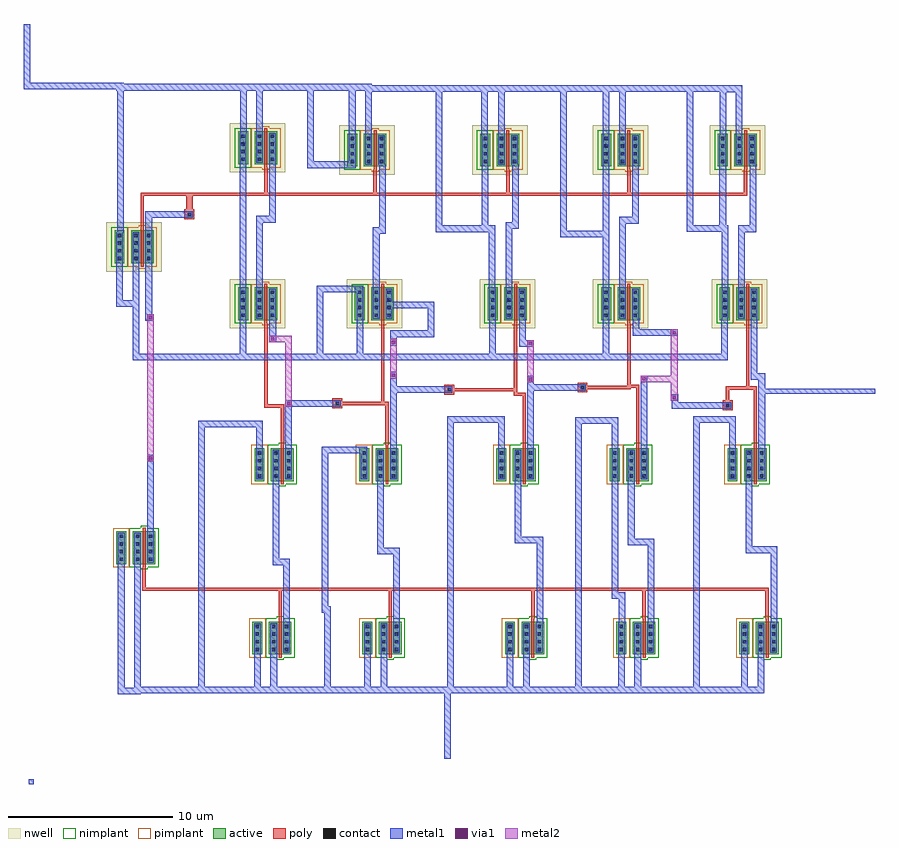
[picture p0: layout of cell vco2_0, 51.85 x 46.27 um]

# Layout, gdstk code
import gdstk
lib = gdstk.Library(unit=1e-6, precision=5e-10)
def R(c, l, rs):  # rectangles x0, y0, x1, y1
    for r in rs: c.add(gdstk.rectangle(r[:2], r[2:], *l))
def A(c, l, x, y, w, h, nx, ny, dx, dy):  # array of equal rectangles
    R(c, l, [(x+i*dx, y+j*dy, x+i*dx+w, y+j*dy+h) for i in range(nx) for j in range(ny)])
active = (1, 0)
nwell = (2, 0)
poly = (3, 0)
nimplant = (4, 0)
pimplant = (5, 0)
contact = (6, 0)
metal1 = (7, 0)
via1 = (8, 0)
metal2 = (9, 0)

nmos_cdns_761219480110 = lib.new_cell('nmos_CDNS_761219480110')
R(nmos_cdns_761219480110, active, [(-1.6,0,-1,2), (-0.6,0,0,2), (0,0,0.18,2), (0.18,0,0.78,2)])
R(nmos_cdns_761219480110, poly, [(0,-0.205,0.18,-0.2), (0,-0.2,0.18,0), (0,0,0.18,2), (0,2,0.18,2.2), (0,2.2,0.18,2.205)])
R(nmos_cdns_761219480110, nimplant, [(-0.12,-0.325,0.3,-0.2), (-0.8,-0.2,0.98,2.2), (-0.12,2.2,0.3,2.325)])
R(nmos_cdns_761219480110, pimplant, [(-1.8,-0.2,-0.8,2.2)])
A(nmos_cdns_761219480110, contact, -1.4, 0.67, 0.2, 0.2, 1, 3, 0, 0.465)
A(nmos_cdns_761219480110, contact, -0.4, 0.67, 0.2, 0.2, 1, 3, 0, 0.465)
A(nmos_cdns_761219480110, contact, 0.38, 0.67, 0.2, 0.2, 1, 3, 0, 0.465)
R(nmos_cdns_761219480110, contact, [(-1.4,0.2,-1.2,0.4), (-0.4,0.2,-0.2,0.4), (0.38,0.2,0.58,0.4)])
R(nmos_cdns_761219480110, metal1, [(-1.5,0.1,-1.1,1.9), (-0.5,0.1,-0.1,1.9), (0.28,0.1,0.68,1.9)])

pmos_cdns_761219480111 = lib.new_cell('pmos_CDNS_761219480111')
R(pmos_cdns_761219480111, active, [(-1.6,0,-1,2), (-0.6,0,0,2), (0,0,0.18,2), (0.18,0,0.78,2)])
R(pmos_cdns_761219480111, nwell, [(-2.1,-0.5,1.28,2.5)])
R(pmos_cdns_761219480111, poly, [(0,-0.205,0.18,-0.2), (0,-0.2,0.18,0), (0,0,0.18,2), (0,2,0.18,2.2), (0,2.2,0.18,2.205)])
R(pmos_cdns_761219480111, nimplant, [(-1.8,-0.2,-0.8,2.2)])
R(pmos_cdns_761219480111, pimplant, [(-0.12,-0.325,0.3,-0.2), (-0.8,-0.2,0.98,2.2), (-0.12,2.2,0.3,2.325)])
A(pmos_cdns_761219480111, contact, -1.4, 0.67, 0.2, 0.2, 1, 3, 0, 0.465)
A(pmos_cdns_761219480111, contact, -0.4, 0.67, 0.2, 0.2, 1, 3, 0, 0.465)
A(pmos_cdns_761219480111, contact, 0.38, 0.67, 0.2, 0.2, 1, 3, 0, 0.465)
R(pmos_cdns_761219480111, contact, [(-1.4,0.2,-1.2,0.4), (-0.4,0.2,-0.2,0.4), (0.38,0.2,0.58,0.4)])
R(pmos_cdns_761219480111, metal1, [(-1.5,0.1,-1.1,1.9), (-0.5,0.1,-0.1,1.9), (0.28,0.1,0.68,1.9)])

m2_m1_cdns_761219480110 = lib.new_cell('M2_M1_CDNS_761219480110')
R(m2_m1_cdns_761219480110, metal1, [(-0.2,-0.2,0.2,0.2)])
R(m2_m1_cdns_761219480110, via1, [(-0.1,-0.1,0.1,0.1)])
R(m2_m1_cdns_761219480110, metal2, [(-0.2,-0.2,0.2,0.2)])

m1_poly1_cdns_7612194801 = lib.new_cell('M1_POLY1_CDNS_761219480111')
R(m1_poly1_cdns_7612194801, poly, [(-0.3,-0.3,0.3,0.3)])
R(m1_poly1_cdns_7612194801, contact, [(-0.1,-0.1,0.1,0.1)])
R(m1_poly1_cdns_7612194801, metal1, [(-0.2,-0.2,0.2,0.2)])

vco2_0 = lib.new_cell('vco2_0')
R(vco2_0, metal1, [(0.3,-1.55,0.6,-1.25), (25.6,0,26,0.4), (51.45,22.21,51.85,22.51), (0,44.32,0.4,44.72)])
vco2_0.add(gdstk.FlexPath([(44.08,22.57),(44.08,26.485)], 0.2, ends=(0.1, 0), simple_path=True, layer=3, datatype=0))  # poly
vco2_0.add(gdstk.FlexPath([(44.08,22.565),(44.08,22.57)], 0.18, ends=(0.1, 0), simple_path=True, layer=3, datatype=0))  # poly
vco2_0.add(gdstk.FlexPath([(7.33,10.305),(15.615,10.305)], 0.2, ends="extended", simple_path=True, layer=3, datatype=0))  # poly
vco2_0.add(gdstk.FlexPath([(15.615,8.545),(15.615,10.305)], 0.2, ends=(0, 0.1), simple_path=True, layer=3, datatype=0))  # poly
vco2_0.add(gdstk.FlexPath([(15.615,10.305),(22.315,10.305)], 0.2, ends="extended", simple_path=True, layer=3, datatype=0))  # poly
vco2_0.add(gdstk.FlexPath([(22.315,8.545),(22.315,10.305)], 0.2, ends=(0, 0.1), simple_path=True, layer=3, datatype=0))  # poly
vco2_0.add(gdstk.FlexPath([(22.315,10.305),(31,10.305)], 0.2, ends="extended", simple_path=True, layer=3, datatype=0))  # poly
vco2_0.add(gdstk.FlexPath([(31,8.545),(31,10.305)], 0.2, ends=(0, 0.1), simple_path=True, layer=3, datatype=0))  # poly
vco2_0.add(gdstk.FlexPath([(31,10.305),(37.775,10.305)], 0.2, ends="extended", simple_path=True, layer=3, datatype=0))  # poly
vco2_0.add(gdstk.FlexPath([(37.775,8.545),(37.775,10.305)], 0.2, ends=(0, 0.1), simple_path=True, layer=3, datatype=0))  # poly
vco2_0.add(gdstk.FlexPath([(45.26,10.305),(45.26,8.545)], 0.2, ends=(0.1, 0), simple_path=True, layer=3, datatype=0))  # poly
vco2_0.add(gdstk.FlexPath([(37.775,10.305),(45.26,10.305)], 0.2, ends="extended", simple_path=True, layer=3, datatype=0))  # poly
vco2_0.add(gdstk.FlexPath([(7.33,11.63),(7.33,10.305)], 0.2, ends=(0, 0.1), simple_path=True, layer=3, datatype=0))  # poly
vco2_0.add(gdstk.FlexPath([(44.545,19.1),(44.545,22.565)], 0.2, ends=(0, 0.1), simple_path=True, layer=3, datatype=0))  # poly
vco2_0.add(gdstk.FlexPath([(36.85,22.59),(36.85,22.66)], 0.2, ends="extended", simple_path=True, layer=3, datatype=0))  # poly
vco2_0.add(gdstk.FlexPath([(34.025,22.59),(36.85,22.59)], 0.2, ends=(0, 0.1), simple_path=True, layer=3, datatype=0))  # poly
vco2_0.add(gdstk.FlexPath([(29.945,26.485),(29.945,22.455)], 0.2, ends=(0, 0.1), simple_path=True, layer=3, datatype=0))  # poly
vco2_0.add(gdstk.FlexPath([(25.905,22.455),(29.945,22.455)], 0.2, ends=(0, 0.1), simple_path=True, layer=3, datatype=0))  # poly
vco2_0.add(gdstk.FlexPath([(21.855,26.485),(21.855,21.62)], 0.2, ends=(0, 0.1), simple_path=True, layer=3, datatype=0))  # poly
vco2_0.add(gdstk.FlexPath([(22.12,21.62),(21.855,21.62)], 0.2, ends="extended", simple_path=True, layer=3, datatype=0))  # poly
vco2_0.add(gdstk.FlexPath([(44.545,22.565),(44.08,22.565)], 0.2, ends=(0.1, 0.09), simple_path=True, layer=3, datatype=0))  # poly
vco2_0.add(gdstk.FlexPath([(44.08,22.565),(42.85,22.565)], 0.2, ends=(0.09, 0.1), simple_path=True, layer=3, datatype=0))  # poly
vco2_0.add(gdstk.FlexPath([(37.39,22.66),(37.39,19.1)], 0.2, ends=(0.1, 0), simple_path=True, layer=3, datatype=0))  # poly
vco2_0.add(gdstk.FlexPath([(36.85,22.66),(37.39,22.66)], 0.2, ends="extended", simple_path=True, layer=3, datatype=0))  # poly
vco2_0.add(gdstk.FlexPath([(36.85,26.485),(36.85,22.66)], 0.2, ends=(0, 0.1), simple_path=True, layer=3, datatype=0))  # poly
vco2_0.add(gdstk.FlexPath([(30.48,22.18),(30.48,19.1)], 0.2, ends=(0.1, 0), simple_path=True, layer=3, datatype=0))  # poly
vco2_0.add(gdstk.FlexPath([(29.945,22.18),(30.48,22.18)], 0.2, ends="extended", simple_path=True, layer=3, datatype=0))  # poly
vco2_0.add(gdstk.FlexPath([(29.945,22.455),(29.945,22.18)], 0.2, ends="extended", simple_path=True, layer=3, datatype=0))  # poly
vco2_0.add(gdstk.FlexPath([(42.85,22.565),(42.85,21.5)], 0.2, ends="extended", simple_path=True, layer=3, datatype=0))  # poly
vco2_0.add(gdstk.FlexPath([(19.09,21.62),(21.855,21.62)], 0.2, ends=(0, 0.1), simple_path=True, layer=3, datatype=0))  # poly
vco2_0.add(gdstk.FlexPath([(22.12,19.1),(22.12,21.62)], 0.2, ends=(0, 0.1), simple_path=True, layer=3, datatype=0))  # poly
vco2_0.add(gdstk.FlexPath([(15.75,21.47),(15.75,19.1)], 0.2, ends=(0.1, 0), simple_path=True, layer=3, datatype=0))  # poly
vco2_0.add(gdstk.FlexPath([(14.75,26.485),(14.75,21.47)], 0.2, ends=(0, 0.1), simple_path=True, layer=3, datatype=0))  # poly
vco2_0.add(gdstk.FlexPath([(14.75,21.47),(15.75,21.47)], 0.2, ends="extended", simple_path=True, layer=3, datatype=0))  # poly
vco2_0.add(gdstk.FlexPath([(7.225,34.35),(10.09,34.35)], 0.2, ends=(0.1, 0.2), simple_path=True, layer=3, datatype=0))  # poly
vco2_0.add(gdstk.FlexPath([(10.09,33.13),(10.09,34.35)], 0.4, ends=(0, 0.1), simple_path=True, layer=3, datatype=0))  # poly
vco2_0.add(gdstk.FlexPath([(10.09,34.35),(14.75,34.35)], 0.2, ends=(0.2, 0.1), simple_path=True, layer=3, datatype=0))  # poly
vco2_0.add(gdstk.FlexPath([(14.75,35.975),(14.75,34.35)], 0.2, ends=(0, 0.1), simple_path=True, layer=3, datatype=0))  # poly
vco2_0.add(gdstk.FlexPath([(14.75,34.35),(21.395,34.35)], 0.2, ends="extended", simple_path=True, layer=3, datatype=0))  # poly
vco2_0.add(gdstk.FlexPath([(21.395,35.845),(21.395,34.35)], 0.2, ends=(0, 0.1), simple_path=True, layer=3, datatype=0))  # poly
vco2_0.add(gdstk.FlexPath([(21.395,34.35),(29.485,34.35)], 0.2, ends="extended", simple_path=True, layer=3, datatype=0))  # poly
vco2_0.add(gdstk.FlexPath([(29.485,35.845),(29.485,34.35)], 0.2, ends=(0, 0.1), simple_path=True, layer=3, datatype=0))  # poly
vco2_0.add(gdstk.FlexPath([(29.485,34.35),(36.85,34.35)], 0.2, ends="extended", simple_path=True, layer=3, datatype=0))  # poly
vco2_0.add(gdstk.FlexPath([(36.85,35.845),(36.85,34.35)], 0.2, ends=(0, 0.1), simple_path=True, layer=3, datatype=0))  # poly
vco2_0.add(gdstk.FlexPath([(43.94,34.35),(43.94,35.845)], 0.2, ends=(0.1, 0), simple_path=True, layer=3, datatype=0))  # poly
vco2_0.add(gdstk.FlexPath([(36.85,34.35),(43.94,34.35)], 0.2, ends="extended", simple_path=True, layer=3, datatype=0))  # poly
vco2_0.add(gdstk.FlexPath([(7.225,32.355),(7.225,34.35)], 0.2, ends=(0, 0.1), simple_path=True, layer=3, datatype=0))  # poly
vco2_0.add(gdstk.FlexPath([(42.85,21.5),(42.87,21.5)], 0.2, ends=(0.1, 0), simple_path=True, layer=3, datatype=0))  # poly
vco2_0.add(gdstk.FlexPath([(37.385,4.17),(40.97,4.17)], 0.4, ends="extended", simple_path=True, layer=7, datatype=0))  # metal1
vco2_0.add(gdstk.FlexPath([(6.94,4.17),(10.815,4.17)], 0.4, ends="extended", simple_path=True, layer=7, datatype=0))  # metal1
vco2_0.add(gdstk.FlexPath([(10.815,20.38),(10.815,4.17)], 0.4, ends="extended", simple_path=True, layer=7, datatype=0))  # metal1
vco2_0.add(gdstk.FlexPath([(14.355,20.38),(10.815,20.38)], 0.4, ends="extended", simple_path=True, layer=7, datatype=0))  # metal1
vco2_0.add(gdstk.FlexPath([(14.355,18.795),(14.355,20.38)], 0.4, ends=(0, 0.2), simple_path=True, layer=7, datatype=0))  # metal1
vco2_0.add(gdstk.FlexPath([(18.49,4.17),(20.925,4.17)], 0.4, ends="extended", simple_path=True, layer=7, datatype=0))  # metal1
vco2_0.add(gdstk.FlexPath([(18.335,9.065),(18.335,18.795)], 0.4, ends="extended", simple_path=True, layer=7, datatype=0))  # metal1
vco2_0.add(gdstk.FlexPath([(18.335,18.795),(20.73,18.795)], 0.4, ends="extended", simple_path=True, layer=7, datatype=0))  # metal1
vco2_0.add(gdstk.FlexPath([(21.925,4.17),(25.795,4.17)], 0.4, ends="extended", simple_path=True, layer=7, datatype=0))  # metal1
vco2_0.add(gdstk.FlexPath([(25.99,20.645),(25.99,4.17)], 0.4, ends="extended", simple_path=True, layer=7, datatype=0))  # metal1
vco2_0.add(gdstk.FlexPath([(29.085,20.645),(25.99,20.645)], 0.4, ends="extended", simple_path=True, layer=7, datatype=0))  # metal1
vco2_0.add(gdstk.FlexPath([(29.085,18.795),(29.085,20.645)], 0.4, ends=(0, 0.2), simple_path=True, layer=7, datatype=0))  # metal1
vco2_0.add(gdstk.FlexPath([(30.61,4.17),(33.775,4.17)], 0.4, ends="extended", simple_path=True, layer=7, datatype=0))  # metal1
vco2_0.add(gdstk.FlexPath([(33.775,20.58),(33.775,4.17)], 0.4, ends="extended", simple_path=True, layer=7, datatype=0))  # metal1
vco2_0.add(gdstk.FlexPath([(35.99,20.58),(33.775,20.58)], 0.4, ends="extended", simple_path=True, layer=7, datatype=0))  # metal1
vco2_0.add(gdstk.FlexPath([(35.99,18.795),(35.99,20.58)], 0.4, ends=(0, 0.2), simple_path=True, layer=7, datatype=0))  # metal1
vco2_0.add(gdstk.FlexPath([(43.155,18.795),(43.155,20.645)], 0.4, ends=(0, 0.2), simple_path=True, layer=7, datatype=0))  # metal1
vco2_0.add(gdstk.FlexPath([(43.155,20.645),(40.97,20.645)], 0.4, ends="extended", simple_path=True, layer=7, datatype=0))  # metal1
vco2_0.add(gdstk.FlexPath([(40.97,20.645),(40.97,4.17)], 0.4, ends="extended", simple_path=True, layer=7, datatype=0))  # metal1
vco2_0.add(gdstk.FlexPath([(44.935,18.795),(44.935,22.36)], 0.4, ends=(0, 0.15), simple_path=True, layer=7, datatype=0))  # metal1
vco2_0.add(gdstk.FlexPath([(36.415,9.92),(36.415,8.24)], 0.4, ends=(0.2, 0), simple_path=True, layer=7, datatype=0))  # metal1
vco2_0.add(gdstk.FlexPath([(35.99,9.92),(36.415,9.92)], 0.4, ends="extended", simple_path=True, layer=7, datatype=0))  # metal1
vco2_0.add(gdstk.FlexPath([(35.99,16.995),(35.99,9.92)], 0.4, ends=(0, 0.2), simple_path=True, layer=7, datatype=0))  # metal1
vco2_0.add(gdstk.FlexPath([(40.97,4.17),(43.88,4.17)], 0.4, ends="extended", simple_path=True, layer=7, datatype=0))  # metal1
vco2_0.add(gdstk.FlexPath([(5.835,40.87),(5.885,40.87)], 0.4, ends="extended", simple_path=True, layer=7, datatype=0))  # metal1
vco2_0.add(gdstk.FlexPath([(5.885,40.87),(13.385,40.87)], 0.4, ends="extended", simple_path=True, layer=7, datatype=0))  # metal1
vco2_0.add(gdstk.FlexPath([(18.49,4.17),(18.49,9.065)], 0.4, ends="extended", simple_path=True, layer=7, datatype=0))  # metal1
vco2_0.add(gdstk.FlexPath([(18.49,9.065),(18.335,9.065)], 0.4, ends="extended", simple_path=True, layer=7, datatype=0))  # metal1
vco2_0.add(gdstk.FlexPath([(39.65,21.5),(39.65,21.98)], 0.4, ends="extended", simple_path=True, layer=7, datatype=0))  # metal1
vco2_0.add(gdstk.FlexPath([(39.65,21.98),(39.61,21.98)], 0.4, ends=(0.2, 0), simple_path=True, layer=7, datatype=0))  # metal1
vco2_0.add(gdstk.FlexPath([(6.94,4.115),(6.94,4.17)], 0.4, ends="extended", simple_path=True, layer=7, datatype=0))  # metal1
vco2_0.add(gdstk.FlexPath([(5.94,4.115),(6.94,4.115)], 0.4, ends="extended", simple_path=True, layer=7, datatype=0))  # metal1
vco2_0.add(gdstk.FlexPath([(5.94,11.935),(5.94,4.115)], 0.4, ends=(0, 0.2), simple_path=True, layer=7, datatype=0))  # metal1
vco2_0.add(gdstk.FlexPath([(10.815,4.17),(14.225,4.17)], 0.4, ends="extended", simple_path=True, layer=7, datatype=0))  # metal1
vco2_0.add(gdstk.FlexPath([(14.225,6.44),(14.225,4.17)], 0.4, ends=(0, 0.2), simple_path=True, layer=7, datatype=0))  # metal1
vco2_0.add(gdstk.FlexPath([(15.225,4.17),(18.49,4.17)], 0.4, ends="extended", simple_path=True, layer=7, datatype=0))  # metal1
vco2_0.add(gdstk.FlexPath([(20.925,6.44),(20.925,4.17)], 0.4, ends=(0, 0.2), simple_path=True, layer=7, datatype=0))  # metal1
vco2_0.add(gdstk.FlexPath([(42.69,32.27),(42.56,32.27)], 0.4, ends="extended", simple_path=True, layer=7, datatype=0))  # metal1
vco2_0.add(gdstk.FlexPath([(7.615,26.85),(7.72,26.85)], 0.4, ends=(0.2, 0), simple_path=True, layer=7, datatype=0))  # metal1
vco2_0.add(gdstk.FlexPath([(33.775,4.17),(36.385,4.17)], 0.4, ends="extended", simple_path=True, layer=7, datatype=0))  # metal1
vco2_0.add(gdstk.FlexPath([(36.385,6.44),(36.385,4.17)], 0.4, ends=(0, 0.2), simple_path=True, layer=7, datatype=0))  # metal1
vco2_0.add(gdstk.FlexPath([(25.99,4.17),(29.61,4.17)], 0.4, ends="extended", simple_path=True, layer=7, datatype=0))  # metal1
vco2_0.add(gdstk.FlexPath([(29.61,8.24),(29.61,4.17)], 0.4, ends=(0, 0.2), simple_path=True, layer=7, datatype=0))  # metal1
vco2_0.add(gdstk.FlexPath([(36.46,40.785),(40.565,40.785)], 0.4, ends="extended", simple_path=True, layer=7, datatype=0))  # metal1
vco2_0.add(gdstk.FlexPath([(40.565,32.27),(40.565,40.785)], 0.4, ends="extended", simple_path=True, layer=7, datatype=0))  # metal1
vco2_0.add(gdstk.FlexPath([(42.56,32.27),(40.565,32.27)], 0.4, ends="extended", simple_path=True, layer=7, datatype=0))  # metal1
vco2_0.add(gdstk.FlexPath([(42.69,28.59),(42.69,32.27)], 0.4, ends=(0, 0.2), simple_path=True, layer=7, datatype=0))  # metal1
vco2_0.add(gdstk.FlexPath([(29.095,40.785),(32.875,40.785)], 0.4, ends="extended", simple_path=True, layer=7, datatype=0))  # metal1
vco2_0.add(gdstk.FlexPath([(32.875,31.94),(32.875,40.785)], 0.4, ends="extended", simple_path=True, layer=7, datatype=0))  # metal1
vco2_0.add(gdstk.FlexPath([(35.46,31.94),(32.875,31.94)], 0.4, ends="extended", simple_path=True, layer=7, datatype=0))  # metal1
vco2_0.add(gdstk.FlexPath([(35.46,31.94),(35.46,28.59)], 0.4, ends=(0.2, 0), simple_path=True, layer=7, datatype=0))  # metal1
vco2_0.add(gdstk.FlexPath([(21.005,40.785),(25.285,40.785)], 0.4, ends="extended", simple_path=True, layer=7, datatype=0))  # metal1
vco2_0.add(gdstk.FlexPath([(25.285,32.255),(25.285,40.785)], 0.4, ends="extended", simple_path=True, layer=7, datatype=0))  # metal1
vco2_0.add(gdstk.FlexPath([(28.095,32.255),(25.285,32.255)], 0.4, ends="extended", simple_path=True, layer=7, datatype=0))  # metal1
vco2_0.add(gdstk.FlexPath([(14.36,40.87),(17.475,40.87)], 0.4, ends="extended", simple_path=True, layer=7, datatype=0))  # metal1
vco2_0.add(gdstk.FlexPath([(17.475,36.15),(17.475,40.87)], 0.4, ends="extended", simple_path=True, layer=7, datatype=0))  # metal1
vco2_0.add(gdstk.FlexPath([(20.005,36.15),(17.475,36.15)], 0.4, ends="extended", simple_path=True, layer=7, datatype=0))  # metal1
vco2_0.add(gdstk.FlexPath([(13.36,24.44),(18.035,24.44)], 0.4, ends="extended", simple_path=True, layer=7, datatype=0))  # metal1
vco2_0.add(gdstk.FlexPath([(18.035,28.59),(18.035,24.44)], 0.4, ends="extended", simple_path=True, layer=7, datatype=0))  # metal1
vco2_0.add(gdstk.FlexPath([(20.465,28.59),(18.035,28.59)], 0.4, ends="extended", simple_path=True, layer=7, datatype=0))  # metal1
vco2_0.add(gdstk.FlexPath([(17.475,40.87),(20.005,40.87)], 0.4, ends="extended", simple_path=True, layer=7, datatype=0))  # metal1
vco2_0.add(gdstk.FlexPath([(20.005,37.95),(20.005,40.87)], 0.4, ends=(0, 0.2), simple_path=True, layer=7, datatype=0))  # metal1
vco2_0.add(gdstk.FlexPath([(5.885,40.87),(5.885,32.05)], 0.4, ends=(0.2, 0), simple_path=True, layer=7, datatype=0))  # metal1
vco2_0.add(gdstk.FlexPath([(51.45,22.36),(44.935,22.36)], 0.3, ends=(0, 0.2), simple_path=True, layer=7, datatype=0))  # metal1
vco2_0.add(gdstk.FlexPath([(5.885,40.955),(5.885,40.87)], 0.4, ends="extended", simple_path=True, layer=7, datatype=0))  # metal1
vco2_0.add(gdstk.FlexPath([(37.77,18.795),(37.77,23.12)], 0.4, ends="flush", simple_path=True, layer=7, datatype=0))  # metal1
vco2_0.add(gdstk.FlexPath([(39.61,25.925),(37.285,25.925)], 0.4, ends=(0, 0.2), simple_path=True, layer=7, datatype=0))  # metal1
vco2_0.add(gdstk.FlexPath([(43.88,6.44),(43.88,4.17)], 0.4, ends=(0, 0.2), simple_path=True, layer=7, datatype=0))  # metal1
vco2_0.add(gdstk.FlexPath([(42.87,21.5),(39.65,21.5)], 0.4, ends=(0, 0.2), simple_path=True, layer=7, datatype=0))  # metal1
vco2_0.add(gdstk.FlexPath([(37.285,25.925),(37.285,26.79)], 0.4, ends=(0.2, 0), simple_path=True, layer=7, datatype=0))  # metal1
vco2_0.add(gdstk.FlexPath([(30.865,22.59),(34.025,22.59)], 0.4, ends=(0.2, 0), simple_path=True, layer=7, datatype=0))  # metal1
vco2_0.add(gdstk.FlexPath([(30.865,22.59),(30.865,23.115)], 0.4, ends=(0.2, 0), simple_path=True, layer=7, datatype=0))  # metal1
vco2_0.add(gdstk.FlexPath([(30.36,25.28),(30.36,26.79)], 0.4, ends=(0.2, 0), simple_path=True, layer=7, datatype=0))  # metal1
vco2_0.add(gdstk.FlexPath([(30.865,25.28),(30.36,25.28)], 0.4, ends=(0, 0.2), simple_path=True, layer=7, datatype=0))  # metal1
vco2_0.add(gdstk.FlexPath([(30.865,18.795),(30.865,22.59)], 0.4, ends=(0, 0.2), simple_path=True, layer=7, datatype=0))  # metal1
vco2_0.add(gdstk.FlexPath([(22.51,22.455),(25.905,22.455)], 0.4, ends=(0.2, 0), simple_path=True, layer=7, datatype=0))  # metal1
vco2_0.add(gdstk.FlexPath([(22.51,22.455),(22.51,23.335)], 0.4, ends=(0.2, 0), simple_path=True, layer=7, datatype=0))  # metal1
vco2_0.add(gdstk.FlexPath([(24.8,27.62),(22.445,27.62)], 0.4, ends=(0.2, 0), simple_path=True, layer=7, datatype=0))  # metal1
vco2_0.add(gdstk.FlexPath([(24.8,25.86),(24.8,27.62)], 0.4, ends="extended", simple_path=True, layer=7, datatype=0))  # metal1
vco2_0.add(gdstk.FlexPath([(22.51,25.86),(24.8,25.86)], 0.4, ends="extended", simple_path=True, layer=7, datatype=0))  # metal1
vco2_0.add(gdstk.FlexPath([(22.51,25.345),(22.51,25.86)], 0.4, ends=(0, 0.2), simple_path=True, layer=7, datatype=0))  # metal1
vco2_0.add(gdstk.FlexPath([(22.51,18.795),(22.51,22.455)], 0.4, ends=(0, 0.2), simple_path=True, layer=7, datatype=0))  # metal1
vco2_0.add(gdstk.FlexPath([(16.135,21.62),(19.09,21.62)], 0.4, ends="flush", simple_path=True, layer=7, datatype=0))  # metal1
vco2_0.add(gdstk.FlexPath([(15.165,25.545),(15.165,26.79)], 0.4, ends="flush", simple_path=True, layer=7, datatype=0))  # metal1
vco2_0.add(gdstk.FlexPath([(16.135,18.795),(16.135,21.62)], 0.4, ends="flush", simple_path=True, layer=7, datatype=0))  # metal1
vco2_0.add(gdstk.FlexPath([(42.56,36.15),(42.56,32.27)], 0.4, ends=(0, 0.2), simple_path=True, layer=7, datatype=0))  # metal1
vco2_0.add(gdstk.FlexPath([(35.46,36.15),(35.46,31.94)], 0.4, ends=(0, 0.2), simple_path=True, layer=7, datatype=0))  # metal1
vco2_0.add(gdstk.FlexPath([(28.515,32.255),(28.515,28.59)], 0.4, ends=(0.2, 0), simple_path=True, layer=7, datatype=0))  # metal1
vco2_0.add(gdstk.FlexPath([(28.095,32.255),(28.515,32.255)], 0.4, ends="extended", simple_path=True, layer=7, datatype=0))  # metal1
vco2_0.add(gdstk.FlexPath([(28.095,36.15),(28.095,32.255)], 0.4, ends=(0, 0.2), simple_path=True, layer=7, datatype=0))  # metal1
vco2_0.add(gdstk.FlexPath([(13.36,36.28),(13.36,28.59)], 0.4, ends="flush", simple_path=True, layer=7, datatype=0))  # metal1
vco2_0.add(gdstk.FlexPath([(7.615,33.13),(10.09,33.13)], 0.4, ends=(0.2, 0), simple_path=True, layer=7, datatype=0))  # metal1
vco2_0.add(gdstk.FlexPath([(7.615,32.05),(7.615,33.13)], 0.4, ends=(0, 0.2), simple_path=True, layer=7, datatype=0))  # metal1
vco2_0.add(gdstk.FlexPath([(7.615,30.25),(7.615,26.85)], 0.4, ends=(0, 0.2), simple_path=True, layer=7, datatype=0))  # metal1
vco2_0.add(gdstk.FlexPath([(7.72,18.305),(7.72,13.735)], 0.4, ends="flush", simple_path=True, layer=7, datatype=0))  # metal1
vco2_0.add(gdstk.FlexPath([(45.675,12.71),(45.675,8.24)], 0.4, ends=(0.2, 0), simple_path=True, layer=7, datatype=0))  # metal1
vco2_0.add(gdstk.FlexPath([(44.155,12.71),(45.675,12.71)], 0.4, ends="extended", simple_path=True, layer=7, datatype=0))  # metal1
vco2_0.add(gdstk.FlexPath([(44.155,16.995),(44.155,12.71)], 0.4, ends=(0, 0.2), simple_path=True, layer=7, datatype=0))  # metal1
vco2_0.add(gdstk.FlexPath([(38.2,13.19),(38.2,8.24)], 0.4, ends=(0.2, 0), simple_path=True, layer=7, datatype=0))  # metal1
vco2_0.add(gdstk.FlexPath([(36.99,13.19),(38.2,13.19)], 0.4, ends="extended", simple_path=True, layer=7, datatype=0))  # metal1
vco2_0.add(gdstk.FlexPath([(36.99,16.995),(36.99,13.19)], 0.4, ends=(0, 0.2), simple_path=True, layer=7, datatype=0))  # metal1
vco2_0.add(gdstk.FlexPath([(31.435,13.31),(31.435,8.24)], 0.4, ends=(0.2, 0), simple_path=True, layer=7, datatype=0))  # metal1
vco2_0.add(gdstk.FlexPath([(30.085,13.31),(31.435,13.31)], 0.4, ends="extended", simple_path=True, layer=7, datatype=0))  # metal1
vco2_0.add(gdstk.FlexPath([(30.085,16.995),(30.085,13.31)], 0.4, ends=(0, 0.2), simple_path=True, layer=7, datatype=0))  # metal1
vco2_0.add(gdstk.FlexPath([(22.69,12.635),(22.69,8.24)], 0.4, ends=(0.2, 0), simple_path=True, layer=7, datatype=0))  # metal1
vco2_0.add(gdstk.FlexPath([(21.73,12.635),(22.69,12.635)], 0.4, ends="extended", simple_path=True, layer=7, datatype=0))  # metal1
vco2_0.add(gdstk.FlexPath([(21.73,16.995),(21.73,12.635)], 0.4, ends=(0, 0.2), simple_path=True, layer=7, datatype=0))  # metal1
vco2_0.add(gdstk.FlexPath([(15.365,11.975),(15.365,16.995)], 0.4, ends=(0.2, 0), simple_path=True, layer=7, datatype=0))  # metal1
vco2_0.add(gdstk.FlexPath([(16.005,11.975),(15.365,11.975)], 0.4, ends="extended", simple_path=True, layer=7, datatype=0))  # metal1
vco2_0.add(gdstk.FlexPath([(16.005,8.24),(16.005,11.975)], 0.4, ends=(0, 0.2), simple_path=True, layer=7, datatype=0))  # metal1
vco2_0.add(gdstk.FlexPath([(25.795,0.4),(25.795,4.17)], 0.4, ends=(0, 0.2), simple_path=True, layer=7, datatype=0))  # metal1
vco2_0.add(gdstk.FlexPath([(25.795,4.17),(25.99,4.17)], 0.4, ends="extended", simple_path=True, layer=7, datatype=0))  # metal1
vco2_0.add(gdstk.FlexPath([(14.225,4.17),(15.225,4.17)], 0.4, ends="extended", simple_path=True, layer=7, datatype=0))  # metal1
vco2_0.add(gdstk.FlexPath([(15.225,6.44),(15.225,4.17)], 0.4, ends=(0, 0.2), simple_path=True, layer=7, datatype=0))  # metal1
vco2_0.add(gdstk.FlexPath([(20.925,4.17),(21.925,4.17)], 0.4, ends="extended", simple_path=True, layer=7, datatype=0))  # metal1
vco2_0.add(gdstk.FlexPath([(21.925,6.44),(21.925,4.17)], 0.4, ends=(0, 0.2), simple_path=True, layer=7, datatype=0))  # metal1
vco2_0.add(gdstk.FlexPath([(29.61,4.17),(30.61,4.17)], 0.4, ends="extended", simple_path=True, layer=7, datatype=0))  # metal1
vco2_0.add(gdstk.FlexPath([(30.61,6.44),(30.61,4.17)], 0.4, ends=(0, 0.2), simple_path=True, layer=7, datatype=0))  # metal1
vco2_0.add(gdstk.FlexPath([(36.385,4.17),(37.385,4.17)], 0.4, ends="extended", simple_path=True, layer=7, datatype=0))  # metal1
vco2_0.add(gdstk.FlexPath([(37.385,6.44),(37.385,4.17)], 0.4, ends=(0, 0.2), simple_path=True, layer=7, datatype=0))  # metal1
vco2_0.add(gdstk.FlexPath([(44.885,4.17),(44.885,6.44)], 0.4, ends=(0.2, 0), simple_path=True, layer=7, datatype=0))  # metal1
vco2_0.add(gdstk.FlexPath([(43.88,4.17),(44.885,4.17)], 0.4, ends="extended", simple_path=True, layer=7, datatype=0))  # metal1
vco2_0.add(gdstk.FlexPath([(6.94,11.935),(6.94,4.17)], 0.4, ends=(0, 0.2), simple_path=True, layer=7, datatype=0))  # metal1
vco2_0.add(gdstk.FlexPath([(44.47,26.79),(44.47,23.265)], 0.4, ends=(0, 0.2), simple_path=True, layer=7, datatype=0))  # metal1
vco2_0.add(gdstk.FlexPath([(44.935,23.265),(44.935,22.36)], 0.4, ends=(0.2, 0.15), simple_path=True, layer=7, datatype=0))  # metal1
vco2_0.add(gdstk.FlexPath([(44.47,23.265),(44.935,23.265)], 0.4, ends="extended", simple_path=True, layer=7, datatype=0))  # metal1
vco2_0.add(gdstk.FlexPath([(15.155,32.835),(15.155,36.28)], 0.4, ends=(0.2, 0), simple_path=True, layer=7, datatype=0))  # metal1
vco2_0.add(gdstk.FlexPath([(14.36,32.835),(15.155,32.835)], 0.4, ends="extended", simple_path=True, layer=7, datatype=0))  # metal1
vco2_0.add(gdstk.FlexPath([(14.36,28.59),(14.36,32.835)], 0.4, ends=(0, 0.2), simple_path=True, layer=7, datatype=0))  # metal1
vco2_0.add(gdstk.FlexPath([(21.84,32.16),(21.84,36.15)], 0.4, ends=(0.2, 0), simple_path=True, layer=7, datatype=0))  # metal1
vco2_0.add(gdstk.FlexPath([(21.465,32.16),(21.84,32.16)], 0.4, ends="extended", simple_path=True, layer=7, datatype=0))  # metal1
vco2_0.add(gdstk.FlexPath([(21.465,28.59),(21.465,32.16)], 0.4, ends=(0, 0.2), simple_path=True, layer=7, datatype=0))  # metal1
vco2_0.add(gdstk.FlexPath([(29.955,32.455),(29.955,36.15)], 0.4, ends=(0.2, 0), simple_path=True, layer=7, datatype=0))  # metal1
vco2_0.add(gdstk.FlexPath([(29.555,32.455),(29.955,32.455)], 0.4, ends="extended", simple_path=True, layer=7, datatype=0))  # metal1
vco2_0.add(gdstk.FlexPath([(29.555,28.59),(29.555,32.455)], 0.4, ends=(0, 0.2), simple_path=True, layer=7, datatype=0))  # metal1
vco2_0.add(gdstk.FlexPath([(37.26,32.77),(37.26,36.15)], 0.4, ends=(0.2, 0), simple_path=True, layer=7, datatype=0))  # metal1
vco2_0.add(gdstk.FlexPath([(36.46,32.77),(37.26,32.77)], 0.4, ends="extended", simple_path=True, layer=7, datatype=0))  # metal1
vco2_0.add(gdstk.FlexPath([(36.46,28.59),(36.46,32.77)], 0.4, ends=(0, 0.2), simple_path=True, layer=7, datatype=0))  # metal1
vco2_0.add(gdstk.FlexPath([(44.39,32.255),(44.39,36.15)], 0.4, ends=(0.2, 0), simple_path=True, layer=7, datatype=0))  # metal1
vco2_0.add(gdstk.FlexPath([(43.69,32.255),(44.39,32.255)], 0.4, ends="extended", simple_path=True, layer=7, datatype=0))  # metal1
vco2_0.add(gdstk.FlexPath([(43.69,28.59),(43.69,32.255)], 0.4, ends=(0, 0.2), simple_path=True, layer=7, datatype=0))  # metal1
vco2_0.add(gdstk.FlexPath([(6.9,24.44),(13.36,24.44)], 0.4, ends="extended", simple_path=True, layer=7, datatype=0))  # metal1
vco2_0.add(gdstk.FlexPath([(13.36,26.79),(13.36,24.44)], 0.4, ends=(0, 0.2), simple_path=True, layer=7, datatype=0))  # metal1
vco2_0.add(gdstk.FlexPath([(20.465,26.79),(20.465,24.44)], 0.4, ends=(0, 0.2), simple_path=True, layer=7, datatype=0))  # metal1
vco2_0.add(gdstk.FlexPath([(18.035,24.44),(20.465,24.44)], 0.4, ends="extended", simple_path=True, layer=7, datatype=0))  # metal1
vco2_0.add(gdstk.FlexPath([(20.465,24.44),(28.555,24.44)], 0.4, ends="extended", simple_path=True, layer=7, datatype=0))  # metal1
vco2_0.add(gdstk.FlexPath([(28.555,26.79),(28.555,24.44)], 0.4, ends=(0, 0.2), simple_path=True, layer=7, datatype=0))  # metal1
vco2_0.add(gdstk.FlexPath([(28.555,24.44),(35.46,24.44)], 0.4, ends="extended", simple_path=True, layer=7, datatype=0))  # metal1
vco2_0.add(gdstk.FlexPath([(42.585,40.78),(42.585,37.95)], 0.4, ends=(0.2, 0), simple_path=True, layer=7, datatype=0))  # metal1
vco2_0.add(gdstk.FlexPath([(40.565,40.785),(42.585,40.785)], 0.4, ends="extended", simple_path=True, layer=7, datatype=0))  # metal1
vco2_0.add(gdstk.FlexPath([(35.445,40.785),(35.445,37.95)], 0.4, ends=(0.2, 0), simple_path=True, layer=7, datatype=0))  # metal1
vco2_0.add(gdstk.FlexPath([(32.875,40.785),(35.445,40.785)], 0.4, ends="extended", simple_path=True, layer=7, datatype=0))  # metal1
vco2_0.add(gdstk.FlexPath([(28.055,40.785),(28.055,37.95)], 0.4, ends=(0.2, 0), simple_path=True, layer=7, datatype=0))  # metal1
vco2_0.add(gdstk.FlexPath([(25.285,40.785),(28.055,40.785)], 0.4, ends="extended", simple_path=True, layer=7, datatype=0))  # metal1
vco2_0.add(gdstk.FlexPath([(21.005,37.95),(21.005,40.785)], 0.4, ends=(0, 0.2), simple_path=True, layer=7, datatype=0))  # metal1
vco2_0.add(gdstk.FlexPath([(13.385,40.87),(13.385,38.08)], 0.4, ends=(0.2, 0), simple_path=True, layer=7, datatype=0))  # metal1
vco2_0.add(gdstk.FlexPath([(5.835,30.25),(5.835,27.715)], 0.4, ends=(0, 0.2), simple_path=True, layer=7, datatype=0))  # metal1
vco2_0.add(gdstk.FlexPath([(42.68,24.44),(42.68,26.79)], 0.4, ends=(0.2, 0), simple_path=True, layer=7, datatype=0))  # metal1
vco2_0.add(gdstk.FlexPath([(35.46,26.79),(35.46,24.44)], 0.4, ends=(0, 0.2), simple_path=True, layer=7, datatype=0))  # metal1
vco2_0.add(gdstk.FlexPath([(14.36,38.08),(14.36,40.87)], 0.4, ends=(0, 0.2), simple_path=True, layer=7, datatype=0))  # metal1
vco2_0.add(gdstk.FlexPath([(29.095,37.95),(29.095,40.785)], 0.4, ends=(0, 0.2), simple_path=True, layer=7, datatype=0))  # metal1
vco2_0.add(gdstk.FlexPath([(13.385,40.87),(14.36,40.87)], 0.4, ends="extended", simple_path=True, layer=7, datatype=0))  # metal1
vco2_0.add(gdstk.FlexPath([(21.005,40.87),(21.005,40.785)], 0.4, ends="extended", simple_path=True, layer=7, datatype=0))  # metal1
vco2_0.add(gdstk.FlexPath([(20.005,40.87),(21.005,40.87)], 0.4, ends="extended", simple_path=True, layer=7, datatype=0))  # metal1
vco2_0.add(gdstk.FlexPath([(35.46,24.44),(42.68,24.44)], 0.4, ends="extended", simple_path=True, layer=7, datatype=0))  # metal1
vco2_0.add(gdstk.FlexPath([(43.56,37.95),(43.56,40.78)], 0.4, ends=(0, 0.2), simple_path=True, layer=7, datatype=0))  # metal1
vco2_0.add(gdstk.FlexPath([(36.46,37.95),(36.46,40.785)], 0.4, ends=(0, 0.2), simple_path=True, layer=7, datatype=0))  # metal1
vco2_0.add(gdstk.FlexPath([(43.56,40.78),(42.585,40.78)], 0.4, ends="extended", simple_path=True, layer=7, datatype=0))  # metal1
vco2_0.add(gdstk.FlexPath([(35.445,40.785),(36.46,40.785)], 0.4, ends="extended", simple_path=True, layer=7, datatype=0))  # metal1
vco2_0.add(gdstk.FlexPath([(0.2,40.955),(5.885,40.955)], 0.4, ends="extended", simple_path=True, layer=7, datatype=0))  # metal1
vco2_0.add(gdstk.FlexPath([(5.835,27.715),(6.835,27.715)], 0.4, ends="extended", simple_path=True, layer=7, datatype=0))  # metal1
vco2_0.add(gdstk.FlexPath([(6.835,32.05),(6.835,27.715)], 0.4, ends=(0, 0.2), simple_path=True, layer=7, datatype=0))  # metal1
vco2_0.add(gdstk.FlexPath([(28.055,40.785),(29.095,40.785)], 0.4, ends="extended", simple_path=True, layer=7, datatype=0))  # metal1
vco2_0.add(gdstk.FlexPath([(42.585,40.785),(42.585,40.78)], 0.4, ends="extended", simple_path=True, layer=7, datatype=0))  # metal1
vco2_0.add(gdstk.FlexPath([(6.835,27.715),(6.835,24.44)], 0.4, ends="extended", simple_path=True, layer=7, datatype=0))  # metal1
vco2_0.add(gdstk.FlexPath([(0.2,44.32),(0.2,40.955)], 0.4, ends=(0, 0.2), simple_path=True, layer=7, datatype=0))  # metal1
vco2_0.add(gdstk.FlexPath([(6.835,24.44),(6.9,24.44)], 0.4, ends="extended", simple_path=True, layer=7, datatype=0))  # metal1
vco2_0.add(gdstk.FlexPath([(39.61,23.12),(39.61,25.925)], 0.4, ends=(0.2, 0), simple_path=True, layer=9, datatype=0))  # metal2
vco2_0.add(gdstk.FlexPath([(39.61,21.98),(39.61,23.12)], 0.4, ends="flush", simple_path=True, layer=9, datatype=0))  # metal2
vco2_0.add(gdstk.FlexPath([(30.865,23.115),(30.865,25.28)], 0.4, ends="flush", simple_path=True, layer=9, datatype=0))  # metal2
vco2_0.add(gdstk.FlexPath([(22.51,23.335),(22.51,25.345)], 0.4, ends="flush", simple_path=True, layer=9, datatype=0))  # metal2
vco2_0.add(gdstk.FlexPath([(16.135,25.545),(15.165,25.545)], 0.4, ends=(0.2, 0), simple_path=True, layer=9, datatype=0))  # metal2
vco2_0.add(gdstk.FlexPath([(16.135,21.62),(16.135,25.545)], 0.4, ends=(0, 0.2), simple_path=True, layer=9, datatype=0))  # metal2
vco2_0.add(gdstk.FlexPath([(37.77,23.12),(39.61,23.12)], 0.4, ends=(0, 0.2), simple_path=True, layer=9, datatype=0))  # metal2
vco2_0.add(gdstk.FlexPath([(7.72,26.85),(7.72,18.305)], 0.4, ends="flush", simple_path=True, layer=9, datatype=0))  # metal2
vco2_0.add(gdstk.Reference(nmos_cdns_761219480110, (7.24,11.835)))
vco2_0.add(gdstk.Reference(nmos_cdns_761219480110, (44.455,16.895)))
vco2_0.add(gdstk.Reference(nmos_cdns_761219480110, (45.18,6.34)))
vco2_0.add(gdstk.Reference(nmos_cdns_761219480110, (37.685,6.34)))
vco2_0.add(gdstk.Reference(nmos_cdns_761219480110, (30.91,6.34)))
vco2_0.add(gdstk.Reference(nmos_cdns_761219480110, (22.225,6.34)))
vco2_0.add(gdstk.Reference(nmos_cdns_761219480110, (15.525,6.34)))
vco2_0.add(gdstk.Reference(nmos_cdns_761219480110, (37.29,16.895)))
vco2_0.add(gdstk.Reference(nmos_cdns_761219480110, (30.385,16.895)))
vco2_0.add(gdstk.Reference(nmos_cdns_761219480110, (22.03,16.895)))
vco2_0.add(gdstk.Reference(nmos_cdns_761219480110, (15.655,16.895)))
vco2_0.add(gdstk.Reference(pmos_cdns_761219480111, (7.135,30.15)))
vco2_0.add(gdstk.Reference(pmos_cdns_761219480111, (43.99,26.69)))
vco2_0.add(gdstk.Reference(pmos_cdns_761219480111, (43.86,36.05)))
vco2_0.add(gdstk.Reference(pmos_cdns_761219480111, (36.76,26.69)))
vco2_0.add(gdstk.Reference(pmos_cdns_761219480111, (29.855,26.69)))
vco2_0.add(gdstk.Reference(pmos_cdns_761219480111, (21.765,26.69)))
vco2_0.add(gdstk.Reference(pmos_cdns_761219480111, (14.66,26.69)))
vco2_0.add(gdstk.Reference(pmos_cdns_761219480111, (36.76,36.05)))
vco2_0.add(gdstk.Reference(pmos_cdns_761219480111, (29.395,36.05)))
vco2_0.add(gdstk.Reference(pmos_cdns_761219480111, (21.305,36.05)))
vco2_0.add(gdstk.Reference(pmos_cdns_761219480111, (14.66,36.18)))
vco2_0.add(gdstk.Reference(m2_m1_cdns_761219480110, (37.77,23.12)))
vco2_0.add(gdstk.Reference(m2_m1_cdns_761219480110, (39.61,21.98)))
vco2_0.add(gdstk.Reference(m2_m1_cdns_761219480110, (39.61,25.925)))
vco2_0.add(gdstk.Reference(m2_m1_cdns_761219480110, (30.865,25.28)))
vco2_0.add(gdstk.Reference(m2_m1_cdns_761219480110, (30.865,23.115)))
vco2_0.add(gdstk.Reference(m2_m1_cdns_761219480110, (22.51,25.345)))
vco2_0.add(gdstk.Reference(m2_m1_cdns_761219480110, (22.51,23.335)))
vco2_0.add(gdstk.Reference(m2_m1_cdns_761219480110, (15.165,25.545)))
vco2_0.add(gdstk.Reference(m2_m1_cdns_761219480110, (16.135,21.62)))
vco2_0.add(gdstk.Reference(m2_m1_cdns_761219480110, (7.72,18.305)))
vco2_0.add(gdstk.Reference(m2_m1_cdns_761219480110, (7.72,26.85)))
vco2_0.add(gdstk.Reference(m1_poly1_cdns_7612194801, (42.87,21.5)))
vco2_0.add(gdstk.Reference(m1_poly1_cdns_7612194801, (34.025,22.59)))
vco2_0.add(gdstk.Reference(m1_poly1_cdns_7612194801, (25.905,22.455)))
vco2_0.add(gdstk.Reference(m1_poly1_cdns_7612194801, (19.09,21.62)))
vco2_0.add(gdstk.Reference(m1_poly1_cdns_7612194801, (10.09,33.13)))

lib.write_gds('vco2_0.gds')
